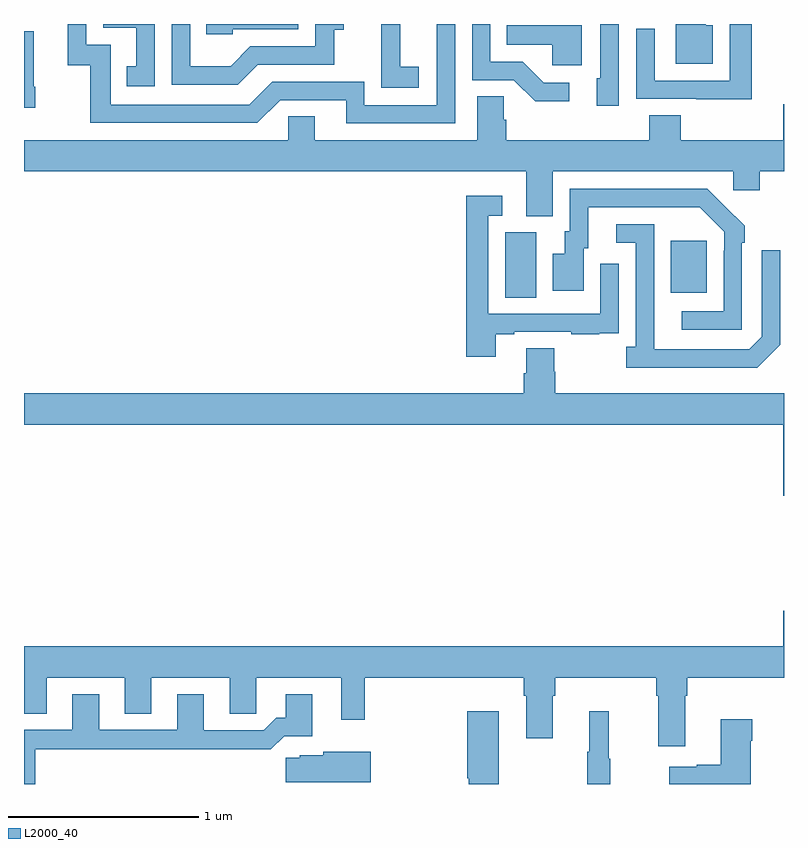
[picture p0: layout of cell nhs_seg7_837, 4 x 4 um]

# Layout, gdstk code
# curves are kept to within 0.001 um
import gdstk
lib = gdstk.Library(unit=1e-6, precision=1e-09)
def R(c, l, rs):  # rectangles x0, y0, x1, y1
    for r in rs: c.add(gdstk.rectangle(r[:2], r[2:], *l))
def P(c, l, *ps):  # polygons
    for p in ps: c.add(gdstk.Polygon(p, *l))
L2000_40 = (2000, 40)

nhs_seg7_837 = lib.new_cell('nhs_seg7_837')
R(nhs_seg7_837, L2000_40, [(175.532,1058.56,175.696,1058.904), (176.405,1058.585,176.593,1058.86)])
P(nhs_seg7_837, L2000_40, [(175.269,1060),(175.173,1060),(175.173,1059.573),(174.792,1059.573),(174.792,1059.696),(174.306,1059.696),(174.186,1059.576),(173.457,1059.576),(173.457,1059.891),(173.328,1059.891),(173.328,1060),(173.231,1060),(173.231,1059.783),(173.349,1059.783),(173.349,1059.48),(174.228,1059.48),(174.348,1059.6),(174.695,1059.6),(174.695,1059.477),(175.269,1059.477)],
  [(174.099,1059.972),(174.444,1059.972),(174.444,1060),(173.959,1060),(173.959,1059.945),(174.099,1059.945)],
  [(175.078,1059.775),(174.98,1059.775),(174.98,1060),(174.881,1060),(174.881,1059.871),(174.88,1059.871),(174.88,1059.665),(175.078,1059.665)],
  [(174.229,1059.786),(174.633,1059.786),(174.633,1059.971),(174.682,1059.971),(174.682,1060),(174.534,1060),(174.534,1059.882),(174.192,1059.882),(174.088,1059.778),(173.874,1059.778),(173.874,1060),(173.778,1060),(173.778,1059.681),(174.124,1059.681)],
  [(173.688,1060),(173.418,1060),(173.418,1059.981),(173.591,1059.981),(173.591,1059.777),(173.542,1059.777),(173.542,1059.672),(173.688,1059.672)],
  [(175.87,1059.69),(175.735,1059.69),(175.624,1059.801),(175.455,1059.801),(175.455,1060),(175.359,1060),(175.359,1059.705),(175.578,1059.705),(175.691,1059.593),(175.87,1059.593)],
  [(176.13,1060),(176.034,1060),(176.034,1059.714),(176.015,1059.714),(176.015,1059.57),(176.13,1059.57)],
  [(176.831,1060),(176.715,1060),(176.715,1059.702),(176.319,1059.702),(176.319,1059.976),(176.223,1059.976),(176.223,1059.606),(176.539,1059.606),(176.539,1059.605),(176.831,1059.605)],
  [(176.626,1059.994),(176.587,1059.994),(176.587,1060),(176.429,1060),(176.429,1059.791),(176.626,1059.791)],
  [(175.936,1059.994),(175.54,1059.994),(175.54,1059.89),(175.779,1059.89),(175.779,1059.782),(175.936,1059.782)],
  [(173.058,1059.67),(173.05,1059.67),(173.05,1059.961),(173,1059.961),(173,1059.558),(173.058,1059.558)],
  [(175.783,1059.224),(176.733,1059.224),(176.733,1059.126),(176.872,1059.126),(176.872,1059.224),(177,1059.224),(177,1059.577),(176.996,1059.577),(176.996,1059.388),(176.456,1059.388),(176.456,1059.521),(176.291,1059.521),(176.291,1059.388),(175.538,1059.388),(175.538,1059.497),(175.524,1059.497),(175.524,1059.62),(175.385,1059.62),(175.385,1059.388),(174.529,1059.388),(174.529,1059.515),(174.39,1059.515),(174.39,1059.388),(173,1059.388),(173,1059.224),(175.643,1059.224),(175.643,1058.989),(175.783,1058.989)],
  [(176.778,1058.849),(176.793,1058.849),(176.793,1058.937),(176.596,1059.132),(175.872,1059.132),(175.872,1058.91),(175.847,1058.91),(175.847,1058.791),(175.784,1058.791),(175.784,1058.595),(175.945,1058.595),(175.945,1058.82),(175.969,1058.82),(175.969,1059.036),(176.557,1059.036),(176.685,1058.907),(176.685,1058.807),(176.682,1058.807),(176.682,1058.487),(176.463,1058.487),(176.463,1058.391),(176.778,1058.391)],
  [(175.483,1058.367),(175.579,1058.367),(175.579,1058.379),(175.879,1058.379),(175.879,1058.367),(176.027,1058.367),(176.027,1058.373),(176.129,1058.373),(176.129,1058.482),(176.13,1058.482),(176.13,1058.737),(176.034,1058.737),(176.034,1058.475),(175.443,1058.475),(175.443,1058.991),(175.516,1058.991),(175.516,1059.097),(175.327,1059.097),(175.327,1058.25),(175.483,1058.25)],
  [(176.979,1058.313),(176.979,1058.809),(176.883,1058.809),(176.883,1058.355),(176.817,1058.289),(176.317,1058.289),(176.316,1058.946),(176.118,1058.946),(176.118,1058.85),(176.22,1058.85),(176.22,1058.302),(176.169,1058.302),(176.169,1058.192),(176.858,1058.192)],
  [(177,1058.056),(175.796,1058.056),(175.796,1058.169),(175.791,1058.169),(175.791,1058.294),(175.643,1058.294),(175.643,1058.162),(175.631,1058.162),(175.631,1058.056),(173,1058.056),(173,1057.892),(176.996,1057.892),(176.996,1057.518),(177,1057.518)],
  [(176.479,1056.464),(176.492,1056.464),(176.492,1056.56),(177,1056.56),(177,1056.913),(176.996,1056.913),(176.996,1056.724),(173,1056.724),(173,1056.37),(173.119,1056.37),(173.119,1056.56),(173.531,1056.56),(173.531,1056.37),(173.671,1056.37),(173.671,1056.56),(174.083,1056.56),(174.083,1056.37),(174.222,1056.37),(174.222,1056.56),(174.671,1056.56),(174.671,1056.339),(174.793,1056.339),(174.793,1056.56),(175.631,1056.56),(175.631,1056.464),(175.643,1056.464),(175.643,1056.24),(175.783,1056.24),(175.783,1056.464),(175.796,1056.464),(175.796,1056.56),(176.327,1056.56),(176.327,1056.464),(176.339,1056.464),(176.339,1056.198),(176.479,1056.198)],
  [(173.059,1056.184),(174.043,1056.184),(174.043,1056.182),(174.299,1056.182),(174.369,1056.252),(174.517,1056.252),(174.517,1056.472),(174.377,1056.472),(174.377,1056.349),(174.328,1056.349),(174.261,1056.282),(173.947,1056.282),(173.947,1056.472),(173.807,1056.472),(173.807,1056.285),(173.395,1056.285),(173.395,1056.472),(173.255,1056.472),(173.255,1056.285),(173,1056.285),(173,1056),(173.059,1056)],
  [(175.498,1056.382),(175.334,1056.382),(175.334,1056.03),(175.34,1056.03),(175.34,1056),(175.498,1056)],
  [(176.086,1056.132),(176.078,1056.132),(176.078,1056.382),(175.976,1056.382),(175.976,1056.169),(175.965,1056.169),(175.965,1056),(176.086,1056)],
  [(176.824,1056.227),(176.832,1056.227),(176.832,1056.34),(176.666,1056.34),(176.666,1056.101),(176.54,1056.101),(176.54,1056.091),(176.397,1056.091),(176.397,1056),(176.824,1056)],
  [(174.826,1056.169),(174.576,1056.169),(174.576,1056.151),(174.45,1056.151),(174.45,1056.137),(174.378,1056.137),(174.378,1056.008),(174.826,1056.008)])

lib.write_gds('nhs_seg7_837.gds')
